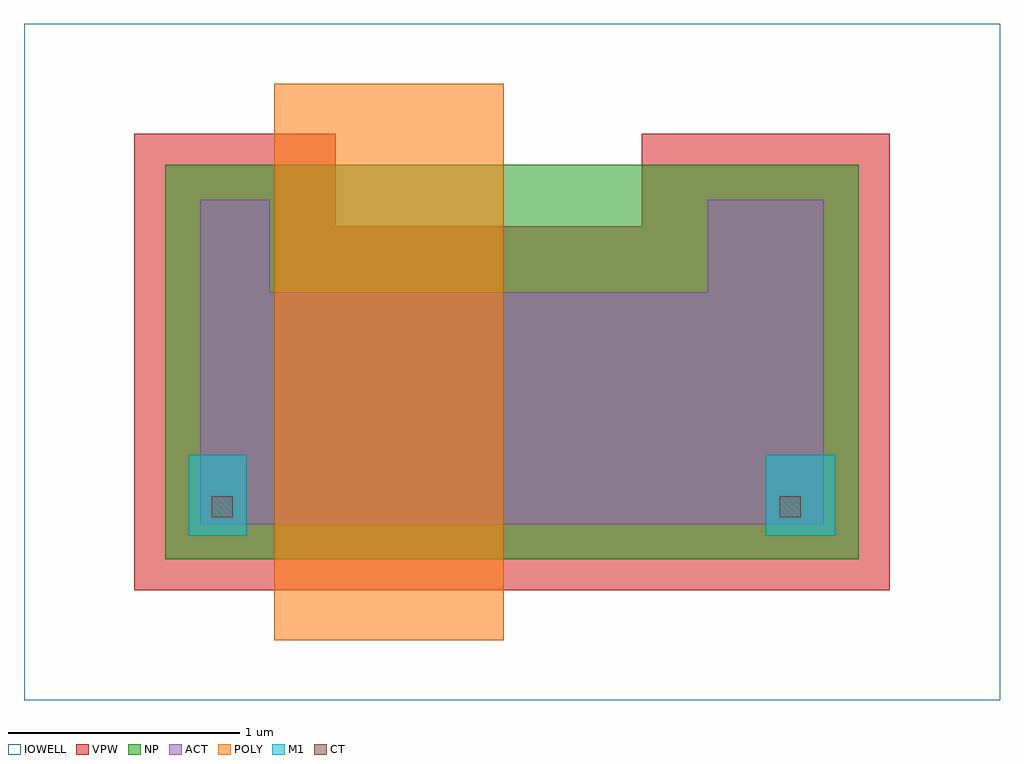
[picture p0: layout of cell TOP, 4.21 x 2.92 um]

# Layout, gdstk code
import gdstk
lib = gdstk.Library(unit=1e-6, precision=1e-09)
def R(c, l, rs):  # rectangles x0, y0, x1, y1
    for r in rs: c.add(gdstk.rectangle(r[:2], r[2:], *l))
def P(c, l, *ps):  # polygons
    for p in ps: c.add(gdstk.Polygon(p, *l))
ACT = (2, 1)
IOWELL = (28, 1)
POLY = (41, 1)
NP = (52, 1)
CT = (72, 1)
M1 = (81, 1)
VPW = (261, 12)

top = lib.new_cell('TOP')
P(top, ACT, [(0,0),(0,1.4),(0.3,1.4),(0.3,1),(2.19,1),(2.19,1.4),(2.69,1.4),(2.69,0)])
R(top, IOWELL, [(-0.76,-0.76,3.45,2.16)])
R(top, POLY, [(0.32,-0.5,1.31,1.9)])
R(top, NP, [(-0.15,-0.15,2.84,1.55)])
R(top, CT, [(0.05,0.03,0.14,0.12), (2.5,0.03,2.59,0.12)])
R(top, M1, [(-0.05,-0.05,0.2,0.3), (2.44,-0.05,2.74,0.3)])
P(top, VPW, [(-0.285,-0.285),(-0.285,1.685),(0.585,1.685),(0.585,1.285),(1.905,1.285),(1.905,1.685),(2.975,1.685),(2.975,-0.285)])

lib.write_gds('TOP.gds')
